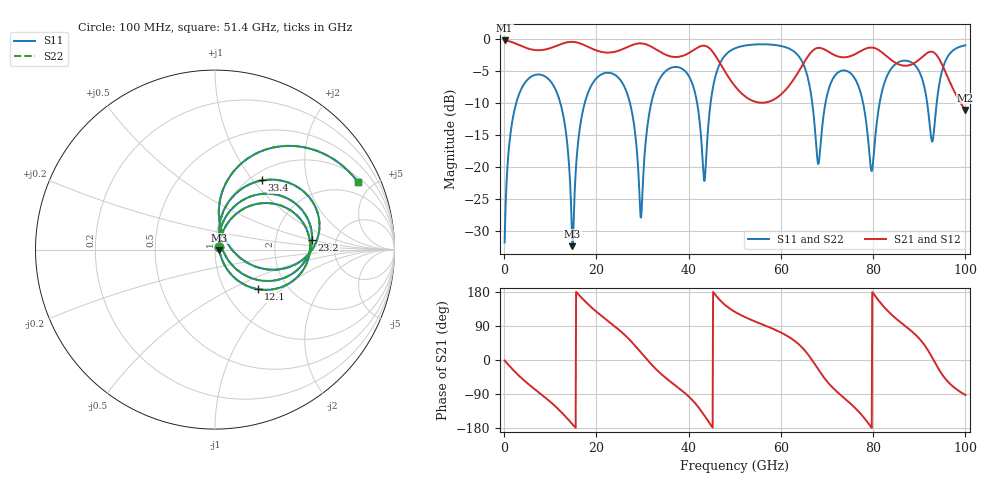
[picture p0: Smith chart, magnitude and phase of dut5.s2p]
! Touchstone file exported from HFSS 2026.1.0
!  File:  C:/ffzhzh/LocalFiles/Ansys_Project_Files/temp_train_TSV_RDL_5_1783611565_33328.aedt
!  Generated:  11:47:55 PM Jul  9, 2026
!  Design:  TSV_RDL
!  Project:  temp_train_TSV_RDL_5_1783611565_33328
! Variables:
!  h_bsmrdl = 2.13um
!  h_ox = 20um
!  h_rdl = 5um
!  h_sub = 80.72um
!  h_tmrdl = 4.4um
!  h_tsv = 80.72um
!  h_via = 3um
!  l_bsmrdl = 252.91um
!  l_sub = 3594.75um
!  l_tmrdl = 585.44um
!  m_sub = 200um
!  pitch = 48.17um
!  r_tsv = 13.39um
!  s_tmrdl = 10um
!  w_bsmrdl = 17.59um
!  w_sub = 500um
!  w_tmrdl = 13.83um
!  x_tsv_center1 = 592.355um
!  x_tsv_center2 = 862.855um
!  x_tsv_center3 = 1462.125um
!  x_tsv_center4 = 1732.625um
!  x_tsv_center5 = 2331.895um
!  x_tsv_center6 = 2602.395um
# GHz S MA R 50.000000
! Terminal data exported
! Port[1] = TM_RDL1_1_T1
! Port[2] = TM_RDL5_1_T1
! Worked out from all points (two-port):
!   1000 points, 100 MHz to 100 GHz, reference 50 ohm
!   highest |S21| = -0.19 dB at 100 MHz (marker M1); lowest = -11.1 dB at 100 GHz (marker M2)
!   |S21| within 3 dB of the highest: start of sweep to 46.35 GHz; 65.4 GHz to 83.84 GHz (18.44 GHz wide, 24.7 % of centre) (the widest 2 of 3)
!   lowest |S11| = -32.3 dB at 14.8 GHz (marker M3), VSWR 1.05, Z = 52.5 - j0.211 ohm
!   |S11| at or under -10 dB: 12.2 GHz to 17.46 GHz (5.257 GHz wide, 35.4 % of centre); 27.29 GHz to 31.89 GHz (4.604 GHz wide, 15.6 % of centre); 77.84 GHz to 81.39 GHz (3.556 GHz wide, 4.47 % of centre) (the widest 3 of 7)
!   |S22| runs from -32.2 to -0.8 dB; largest |S21 - S12| = 1.7e-14
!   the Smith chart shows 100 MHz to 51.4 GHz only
!   S11 on the Smith chart (normalised r, x): 100 MHz: 1.04, +0.03; 12.1 GHz: 1.43, -0.70; 23.2 GHz: 3.29, +0.52; 33.4 GHz: 1.13, +1.11; 51.4 GHz: 1.22, +4.09
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0.1  0.0259 32.5  0.9784 -1.4  0.9784 -1.4  0.0259 32.5
! Gamma 0 0 0 0
! Port Impedance 50 0 50 0
3.6  0.4003 40.2  0.8891 -45.9  0.8891 -45.9  0.4003 40.3
12.1  0.3257 -42.7  0.9101 -134.0  0.9101 -134.0  0.3257 -42.6
14.8  0.0242 -4.8  0.9537 -169.4  0.9537 -169.4  0.02449 -4.4
16.8  0.2472 67.4  0.9181 164.0  0.9181 164.0  0.2474 67.4
23.2  0.5433 5.9  0.7891 96.5  0.7891 96.5  0.5434 6.0
27.3  0.3152 -33.4  0.888 52.1  0.888 52.1  0.3153 -33.3
29.6  0.04063 7.7  0.9287 20.6  0.9287 20.6  0.04143 7.9
33.4  0.466 55.8  0.8129 -29.8  0.8129 -29.8  0.466 55.7
40.8  0.4495 -11.0  0.8118 -105.8  0.8118 -105.8  0.4493 -11.1
44.1  0.1779 82.5  0.872 -159.2  0.872 -159.2  0.1777 82.8
50.1  0.8509 33.2  0.4275 126.6  0.4275 126.6  0.851 33.2
51.4  0.8803 25.4  0.38 118.0  0.38 118.0  0.8804 25.5
60.4  0.8796 -17.8  0.3812 70.0  0.3812 70.0  0.8797 -17.7
66.7  0.3385 -70.3  0.8016 0.7  0.8016 0.7  0.34 -69.5
68.2  0.1077 -13.6  0.8568 -26.8  0.8568 -26.8  0.1134 -14.0
74.6  0.5586 -18.5  0.7294 -109.8  0.7294 -109.8  0.5591 -18.7
79.7  0.09328 2.7  0.8615 -179.0  0.8615 -179.0  0.09288 2.5
83.4  0.5503 29.7  0.713 126.6  0.713 126.6  0.5503 29.6
92.8  0.1586 2.3  0.7985 6.6  0.7985 6.6  0.1613 2.4
95.3  0.6242 32.1  0.5937 -43.8  0.5937 -43.8  0.6249 31.9
100  0.8972 -7.2  0.2801 -92.4  0.2801 -92.4  0.8976 -7.2
